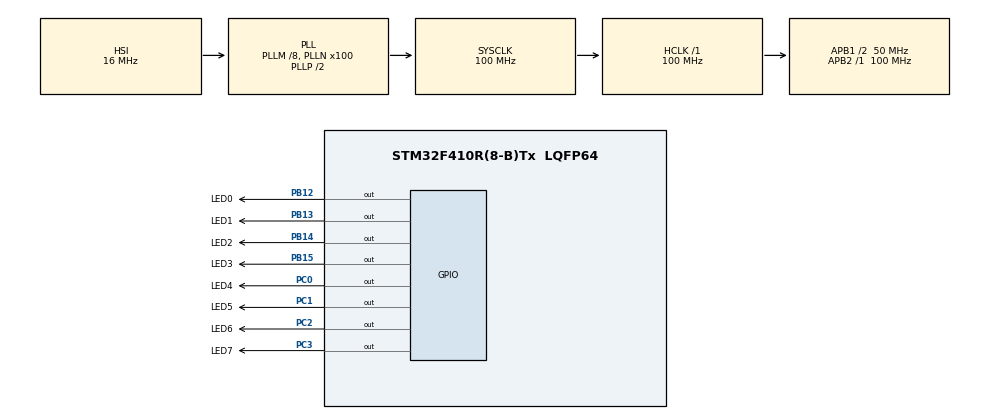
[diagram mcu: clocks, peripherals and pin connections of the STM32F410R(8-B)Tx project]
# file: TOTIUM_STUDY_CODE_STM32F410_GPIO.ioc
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Mcu.Family=STM32F4
Mcu.Name=STM32F410R(8-B)Tx
Mcu.Package=LQFP64
NVIC.PriorityGroup=NVIC_PRIORITYGROUP_4
PA13.Mode=Serial_Wire
PA13.Signal=SYS_JTMS-SWDIO
PA14.Mode=Serial_Wire
PA14.Signal=SYS_JTCK-SWCLK
PB12.GPIO_Label=LED0
PB12.PinState=GPIO_PIN_RESET
PB12.Signal=GPIO_Output
PB13.GPIO_Label=LED1
PB13.PinState=GPIO_PIN_RESET
PB13.Signal=GPIO_Output
PB14.GPIO_Label=LED2
PB14.PinState=GPIO_PIN_RESET
PB14.Signal=GPIO_Output
PB15.GPIO_Label=LED3
PB15.PinState=GPIO_PIN_RESET
PB15.Signal=GPIO_Output
PC0.GPIO_Label=LED4
PC0.Signal=GPIO_Output
PC1.GPIO_Label=LED5
PC1.Signal=GPIO_Output
PC14-OSC32_IN.Mode=LSE-External-Oscillator
PC14-OSC32_IN.Signal=RCC_OSC32_IN
PC15-OSC32_OUT.Mode=LSE-External-Oscillator
PC15-OSC32_OUT.Signal=RCC_OSC32_OUT
PC2.GPIO_Label=LED6
PC2.Signal=GPIO_Output
PC3.GPIO_Label=LED7
PC3.PinState=GPIO_PIN_RESET
PC3.Signal=GPIO_Output
ProjectManager.HeapSize=0x200
ProjectManager.StackSize=0x400
ProjectManager.TargetToolchain=STM32CubeIDE
RCC.48MHZClocksFreq_Value=50000000
RCC.AHBFreq_Value=100000000
RCC.APB1CLKDivider=RCC_HCLK_DIV2
RCC.APB1Freq_Value=50000000
RCC.APB1TimFreq_Value=100000000
RCC.APB2Freq_Value=100000000
RCC.APB2TimFreq_Value=100000000
RCC.CortexFreq_Value=100000000
RCC.HCLKFreq_Value=100000000
RCC.HSE_VALUE=25000000
RCC.HSI_VALUE=16000000
RCC.PLLM=8
RCC.PLLN=100
RCC.SYSCLKFreq_VALUE=100000000
RCC.SYSCLKSource=RCC_SYSCLKSOURCE_PLLCLK
RCC.VCOOutputFreq_Value=200000000
board=custom

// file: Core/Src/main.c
/* USER CODE BEGIN Header */
/**
  ******************************************************************************
  * @file           : main.c
  * @brief          : Main program body
  ******************************************************************************
  * @attention
  *
  * Copyright (c) 2022 STMicroelectronics.
  * All rights reserved.
  *
  * This software is licensed under terms that can be found in the LICENSE file
  * in the root directory of this software component.
  * If no LICENSE file comes with this software, it is provided AS-IS.
  *
  ******************************************************************************
  */
/* USER CODE END Header */
#include "main.h"
#include "gpio.h"

void SystemClock_Config(void);

int main(void)
{

  /* MCU Configuration--------------------------------------------------------*/

  /* Reset of all peripherals, Initializes the Flash interface and the Systick. */
  HAL_Init();

  /* Configure the system clock */
  SystemClock_Config();

  /* Initialize all configured peripherals */
  MX_GPIO_Init();

  /* Infinite loop */
  /* USER CODE BEGIN WHILE */
  while (1)
  {

	  //HAL_GPIO_TogglePin(GPIOC, LED4_Pin|LED5_Pin|LED6_Pin|LED7_Pin);
	  //HAL_GPIO_TogglePin(GPIOB, LED0_Pin|LED1_Pin|LED2_Pin|LED3_Pin);
      //HAL_Delay(1000);
	  //HAL_GPIO_WritePin(GPIOC, LED4_Pin|LED5_Pin|LED6_Pin|LED7_Pin, GPIO_PIN_SET);
	  //HAL_GPIO_WritePin(GPIOB, LED0_Pin|LED1_Pin|LED2_Pin|LED3_Pin, GPIO_PIN_SET);
	  //HAL_Delay(1000);

/* GPIO SET, RESET START
	  HAL_GPIO_WritePin(GPIOB, LED0_Pin, GPIO_PIN_SET);
	  HAL_Delay(500);
	  HAL_GPIO_WritePin(GPIOB, LED1_Pin, GPIO_PIN_SET);
	  HAL_Delay(500);
	  HAL_GPIO_WritePin(GPIOB, LED2_Pin, GPIO_PIN_SET);
	  HAL_Delay(500);
	  HAL_GPIO_WritePin(GPIOB, LED3_Pin, GPIO_PIN_SET);
	  HAL_Delay(500);
	  HAL_GPIO_WritePin(GPIOC, LED4_Pin, GPIO_PIN_SET);
	  HAL_Delay(500);
	  HAL_GPIO_WritePin(GPIOC, LED5_Pin, GPIO_PIN_SET);
	  HAL_Delay(500);
	  HAL_GPIO_WritePin(GPIOC, LED6_Pin, GPIO_PIN_SET);
	  HAL_Delay(500);
	  HAL_GPIO_WritePin(GPIOC, LED7_Pin, GPIO_PIN_SET);
	  HAL_Delay(500);

	  HAL_GPIO_WritePin(GPIOC, LED7_Pin, GPIO_PIN_RESET);
	  HAL_Delay(500);
	  HAL_GPIO_WritePin(GPIOC, LED6_Pin, GPIO_PIN_RESET);
	  HAL_Delay(500);
	  HAL_GPIO_WritePin(GPIOC, LED5_Pin, GPIO_PIN_RESET);
	  HAL_Delay(500);
	  HAL_GPIO_WritePin(GPIOC, LED4_Pin, GPIO_PIN_RESET);
	  HAL_Delay(500);
	  HAL_GPIO_WritePin(GPIOB, LED3_Pin, GPIO_PIN_RESET);
	  HAL_Delay(500);
	  HAL_GPIO_WritePin(GPIOB, LED2_Pin, GPIO_PIN_RESET);
	  HAL_Delay(500);
	  HAL_GPIO_WritePin(GPIOB, LED1_Pin, GPIO_PIN_RESET);
	  HAL_Delay(500);
	  HAL_GPIO_WritePin(GPIOB, LED0_Pin, GPIO_PIN_RESET);
	  HAL_Delay(500);
GPIO SET, RESET END*/

/* GPIO TOGGLE START
	  HAL_GPIO_TogglePin(GPIOB, LED0_Pin);
	  HAL_Delay(500);
	  HAL_GPIO_TogglePin(GPIOB, LED1_Pin);
	  HAL_Delay(500);
	  HAL_GPIO_TogglePin(GPIOB, LED2_Pin);
	  HAL_Delay(500);
	  HAL_GPIO_TogglePin(GPIOB, LED3_Pin);
	  HAL_Delay(500);
	  HAL_GPIO_TogglePin(GPIOC, LED4_Pin);
	  HAL_Delay(500);
	  HAL_GPIO_TogglePin(GPIOC, LED5_Pin);
	  HAL_Delay(500);
	  HAL_GPIO_TogglePin(GPIOC, LED6_Pin);
	  HAL_Delay(500);
	  HAL_GPIO_TogglePin(GPIOC, LED7_Pin);
	  HAL_Delay(500);

	  HAL_GPIO_TogglePin(GPIOC, LED7_Pin);
	  HAL_Delay(500);
	  HAL_GPIO_TogglePin(GPIOC, LED6_Pin);
	  HAL_Delay(500);
	  HAL_GPIO_TogglePin(GPIOC, LED5_Pin);
	  HAL_Delay(500);
	  HAL_GPIO_TogglePin(GPIOC, LED4_Pin);
	  HAL_Delay(500);
	  HAL_GPIO_TogglePin(GPIOB, LED3_Pin);
	  HAL_Delay(500);
	  HAL_GPIO_TogglePin(GPIOB, LED2_Pin);
	  HAL_Delay(500);
	  HAL_GPIO_TogglePin(GPIOB, LED1_Pin);
	  HAL_Delay(500);
	  HAL_GPIO_TogglePin(GPIOB, LED0_Pin);
	  HAL_Delay(500);
GPIO TOGGLE END*/

/*
	   * for(int i=0; i< 8 ; i++)
	  {

		  switch(i){
		case 0: HAL_GPIO_TogglePin(GPIOB, LED0_Pin); break;
		case 1: HAL_GPIO_TogglePin(GPIOB, LED1_Pin); break;
		case 2: HAL_GPIO_TogglePin(GPIOB, LED2_Pin); break;
		case 3: HAL_GPIO_TogglePin(GPIOB, LED3_Pin); break;
		case 4: HAL_GPIO_TogglePin(GPIOC, LED4_Pin); break;
		case 5: HAL_GPIO_TogglePin(GPIOC, LED5_Pin); break;
		case 6: HAL_GPIO_TogglePin(GPIOC, LED6_Pin); break;
		case 7: HAL_GPIO_TogglePin(GPIOC, LED7_Pin); break;

		}
		HAL_Delay(50);
	  }
*/

//LED0,1,2,3 => PB12, 13, 14,15 LED4,5,6,7=>PC0,1,2,3

	  for(int i=0 ; i< 16 ; i++)
	      {
	         switch(i){
	           case 0:
	           case 1:
	           case 2:
	           case 3:
	              HAL_GPIO_TogglePin(GPIOB, 1<<(i+12));
	              HAL_Delay(10);
	              HAL_GPIO_TogglePin(GPIOB, 1<<(i+12));break;
	           case 4:
	           case 5:
	           case 6:
	           case 7:
	              HAL_GPIO_TogglePin(GPIOC, 1<<(i-4));
	              HAL_Delay(10);
	              HAL_GPIO_TogglePin(GPIOC, 1<<(i-4));break;
	           case 8:
	           case 9:
	           case 10:
	           case 11:
	              HAL_GPIO_TogglePin(GPIOC,  1<<((8-i)+3));
	              HAL_Delay(10);
	              HAL_GPIO_TogglePin(GPIOC,  1<<((8-i)+3));break;
	           case 12:
	           case 13:
	           case 14:
	           case 15:
	              HAL_GPIO_TogglePin(GPIOB, 1<<((15-i)+12));
	              HAL_Delay(10);
	              HAL_GPIO_TogglePin(GPIOB, 1<<((15-i)+12));break;

	             }
	         HAL_Delay(50);

	      }

/* FOR START

	  for(int i=0 ; i< 16 ; i++)
	      {

	         switch(i){
	                  case 0: HAL_GPIO_TogglePin(GPIOB, LED0_Pin);break;
	                  case 1: HAL_GPIO_TogglePin(GPIOB, LED1_Pin);break;
	                  case 2: HAL_GPIO_TogglePin(GPIOB, LED2_Pin);break;
	                  case 3: HAL_GPIO_TogglePin(GPIOB, LED3_Pin);break;
	                  case 4: HAL_GPIO_TogglePin(GPIOC, LED4_Pin);break;
	                  case 5: HAL_GPIO_TogglePin(GPIOC, LED5_Pin);break;
	                  case 6: HAL_GPIO_TogglePin(GPIOC, LED6_Pin);break;
	                  case 7: HAL_GPIO_TogglePin(GPIOC, LED7_Pin);break;
	                  case 15: HAL_GPIO_TogglePin(GPIOB, LED0_Pin);break;
	                  case 14: HAL_GPIO_TogglePin(GPIOB, LED1_Pin);break;
	                  case 13: HAL_GPIO_TogglePin(GPIOB, LED2_Pin);break;
	                  case 12: HAL_GPIO_TogglePin(GPIOB, LED3_Pin);break;
	                  case 11: HAL_GPIO_TogglePin(GPIOC, LED4_Pin);break;
	                  case 10: HAL_GPIO_TogglePin(GPIOC, LED5_Pin);break;
	                  case 9: HAL_GPIO_TogglePin(GPIOC, LED6_Pin);break;
	                  case 8: HAL_GPIO_TogglePin(GPIOC, LED7_Pin);break;

	         }
	         HAL_Delay(300);
	      }
FOR END*/

	  /* SungChun CODE ------------------------------------------------------------*/
	  /* SungChun CODE BEGIN

	  	  	HAL_GPIO_WritePin(GPIOB, LED0_Pin, GPIO_PIN_SET);
	        HAL_Delay(100);
	        HAL_GPIO_WritePin(GPIOB, LED0_Pin, GPIO_PIN_RESET);
	        HAL_Delay(100);
	        HAL_GPIO_WritePin(GPIOB, LED1_Pin, GPIO_PIN_SET);
	        HAL_Delay(100);
	        HAL_GPIO_WritePin(GPIOB, LED1_Pin, GPIO_PIN_RESET);
	        HAL_Delay(100);
	        HAL_GPIO_WritePin(GPIOB, LED2_Pin, GPIO_PIN_SET);
	        HAL_Delay(100);
	        HAL_GPIO_WritePin(GPIOB, LED2_Pin, GPIO_PIN_RESET);
	        HAL_Delay(100);
	        HAL_GPIO_WritePin(GPIOB, LED3_Pin, GPIO_PIN_SET);
	        HAL_Delay(100);
	        HAL_GPIO_WritePin(GPIOB, LED3_Pin, GPIO_PIN_RESET);
	        HAL_Delay(100);
	        HAL_GPIO_WritePin(GPIOC, LED4_Pin, GPIO_PIN_SET);
	        HAL_Delay(100);
	        HAL_GPIO_WritePin(GPIOC, LED4_Pin, GPIO_PIN_RESET);
	        HAL_Delay(100);
	        HAL_GPIO_WritePin(GPIOC, LED5_Pin, GPIO_PIN_SET);
	        HAL_Delay(100);
	        HAL_GPIO_WritePin(GPIOC, LED5_Pin, GPIO_PIN_RESET);
	        HAL_Delay(100);
	        HAL_GPIO_WritePin(GPIOC, LED6_Pin, GPIO_PIN_SET);
	        HAL_Delay(100);
	        HAL_GPIO_WritePin(GPIOC, LED6_Pin, GPIO_PIN_RESET);
	        HAL_Delay(100);
	        HAL_GPIO_WritePin(GPIOC, LED7_Pin, GPIO_PIN_SET);
	        HAL_Delay(100);
	        HAL_GPIO_WritePin(GPIOC, LED7_Pin, GPIO_PIN_RESET);
	        HAL_Delay(100);
	        HAL_GPIO_WritePin(GPIOC, LED6_Pin, GPIO_PIN_SET);
	        HAL_Delay(100);
	        HAL_GPIO_WritePin(GPIOC, LED6_Pin, GPIO_PIN_RESET);
	        HAL_Delay(100);
	        HAL_GPIO_WritePin(GPIOC, LED5_Pin, GPIO_PIN_SET);
	        HAL_Delay(100);
	        HAL_GPIO_WritePin(GPIOC, LED5_Pin, GPIO_PIN_RESET);
	        HAL_Delay(100);
	        HAL_GPIO_WritePin(GPIOC, LED4_Pin, GPIO_PIN_SET);
	        HAL_Delay(100);
	        HAL_GPIO_WritePin(GPIOC, LED4_Pin, GPIO_PIN_RESET);
	        HAL_Delay(100);
	        HAL_GPIO_WritePin(GPIOB, LED3_Pin, GPIO_PIN_SET);
	        HAL_Delay(100);
	        HAL_GPIO_WritePin(GPIOB, LED3_Pin, GPIO_PIN_RESET);
	        HAL_Delay(100);
	        HAL_GPIO_WritePin(GPIOB, LED2_Pin, GPIO_PIN_SET);
	        HAL_Delay(100);
	        HAL_GPIO_WritePin(GPIOB, LED2_Pin, GPIO_PIN_RESET);
	        HAL_Delay(100);
	        HAL_GPIO_WritePin(GPIOB, LED1_Pin, GPIO_PIN_SET);
	        HAL_Delay(100);
	        HAL_GPIO_WritePin(GPIOB, LED1_Pin, GPIO_PIN_RESET);
	        HAL_Delay(100);

	  SungChun CODE END */

    /* USER CODE END WHILE */

  }
}

void SystemClock_Config(void)
{
  RCC_OscInitTypeDef RCC_OscInitStruct = {0};
  RCC_ClkInitTypeDef RCC_ClkInitStruct = {0};

  /** Configure the main internal regulator output voltage
  */
  __HAL_RCC_PWR_CLK_ENABLE();
  __HAL_PWR_VOLTAGESCALING_CONFIG(PWR_REGULATOR_VOLTAGE_SCALE1);
  /** Initializes the RCC Oscillators according to the specified parameters
  * in the RCC_OscInitTypeDef structure.
  */
  RCC_OscInitStruct.OscillatorType = RCC_OSCILLATORTYPE_HSI;
  RCC_OscInitStruct.HSIState = RCC_HSI_ON;
  RCC_OscInitStruct.HSICalibrationValue = RCC_HSICALIBRATION_DEFAULT;
  RCC_OscInitStruct.PLL.PLLState = RCC_PLL_ON;
  RCC_OscInitStruct.PLL.PLLSource = RCC_PLLSOURCE_HSI;
  RCC_OscInitStruct.PLL.PLLM = 8;
  RCC_OscInitStruct.PLL.PLLN = 100;
  RCC_OscInitStruct.PLL.PLLP = RCC_PLLP_DIV2;
  RCC_OscInitStruct.PLL.PLLQ = 4;
  RCC_OscInitStruct.PLL.PLLR = 2;
  if (HAL_RCC_OscConfig(&RCC_OscInitStruct) != HAL_OK)
  {
    Error_Handler();
  }
  /** Initializes the CPU, AHB and APB buses clocks
  */
  RCC_ClkInitStruct.ClockType = RCC_CLOCKTYPE_HCLK|RCC_CLOCKTYPE_SYSCLK
                              |RCC_CLOCKTYPE_PCLK1|RCC_CLOCKTYPE_PCLK2;
  RCC_ClkInitStruct.SYSCLKSource = RCC_SYSCLKSOURCE_PLLCLK;
  RCC_ClkInitStruct.AHBCLKDivider = RCC_SYSCLK_DIV1;
  RCC_ClkInitStruct.APB1CLKDivider = RCC_HCLK_DIV2;
  RCC_ClkInitStruct.APB2CLKDivider = RCC_HCLK_DIV1;

  if (HAL_RCC_ClockConfig(&RCC_ClkInitStruct, FLASH_LATENCY_3) != HAL_OK)
  {
    Error_Handler();
  }
}

void Error_Handler(void)
{
  __disable_irq();
  while (1)
  {
  }
}
